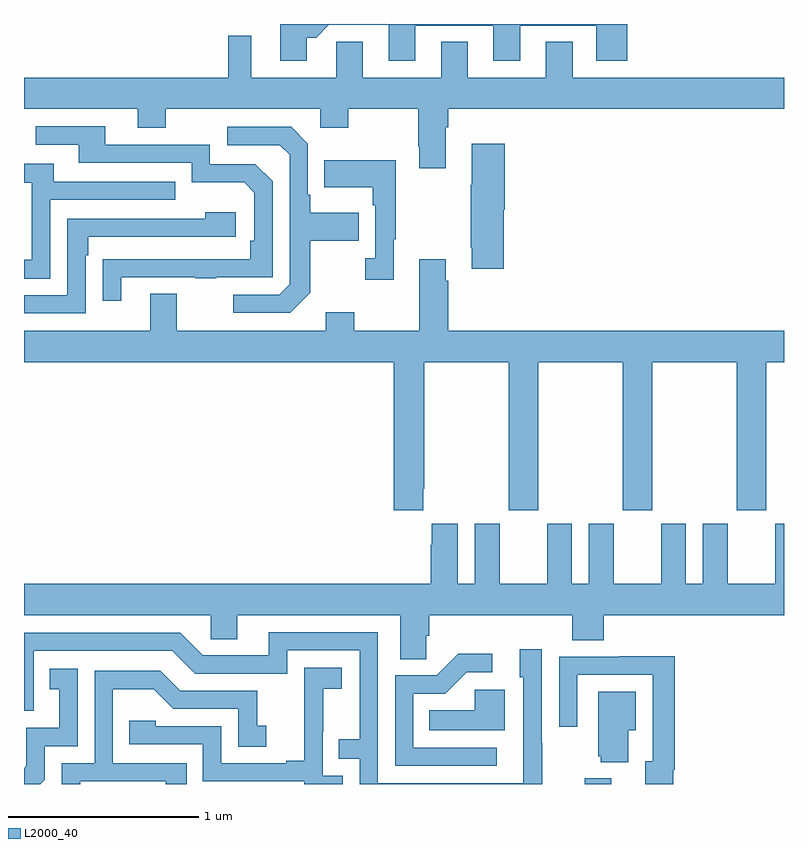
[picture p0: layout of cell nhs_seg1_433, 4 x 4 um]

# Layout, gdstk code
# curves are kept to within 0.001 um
import gdstk
lib = gdstk.Library(unit=1e-6, precision=1e-09)
def R(c, l, rs):  # rectangles x0, y0, x1, y1
    for r in rs: c.add(gdstk.rectangle(r[:2], r[2:], *l))
def P(c, l, *ps):  # polygons
    for p in ps: c.add(gdstk.Polygon(p, *l))
L2000_40 = (2000, 40)

nhs_seg1_433 = lib.new_cell('nhs_seg1_433')
R(nhs_seg1_433, L2000_40, [(137.951,528.199,138.091,528.229)])
P(nhs_seg1_433, L2000_40, [(136.489,532.127),(136.538,532.127),(136.605,532.194),(136.919,532.194),(136.919,532.005),(137.059,532.005),(137.059,532.191),(137.471,532.191),(137.471,532.005),(137.611,532.005),(137.611,532.191),(138.011,532.191),(138.011,532.005),(138.176,532.005),(138.176,532.199),(136.349,532.199),(136.349,532.005),(136.489,532.005)],
  [(137.221,531.656),(137.234,531.656),(137.234,531.752),(139,531.752),(139,531.916),(137.887,531.916),(137.887,532.106),(137.747,532.106),(137.747,531.916),(137.335,531.916),(137.335,532.106),(137.195,532.106),(137.195,531.916),(136.783,531.916),(136.783,532.106),(136.644,532.106),(136.644,531.916),(136.195,531.916),(136.195,532.138),(136.074,532.138),(136.074,531.916),(135,531.916),(135,531.752),(135.599,531.752),(135.599,531.653),(135.747,531.653),(135.747,531.752),(136.56,531.752),(136.56,531.653),(136.707,531.653),(136.707,531.752),(137.074,531.752),(137.074,531.553),(137.081,531.553),(137.081,531.441),(137.221,531.441)],
  [(135.511,530.865),(135.901,530.865),(135.901,530.86),(136.013,530.86),(136.013,530.865),(136.308,530.865),(136.308,531.372),(136.218,531.462),(135.978,531.462),(135.978,531.564),(135.427,531.564),(135.427,531.66),(135.063,531.66),(135.063,531.564),(135.287,531.564),(135.287,531.468),(135.882,531.468),(135.882,531.365),(136.159,531.365),(136.212,531.312),(136.212,531.058),(136.192,531.058),(136.192,530.961),(135.415,530.96),(135.415,530.742),(135.511,530.742)],
  [(136.507,530.785),(136.507,531.058),(136.763,531.058),(136.763,531.205),(136.507,531.205),(136.507,531.301),(136.494,531.301),(136.494,531.57),(136.407,531.657),(136.071,531.657),(136.071,531.561),(136.347,531.561),(136.398,531.51),(136.398,530.829),(136.344,530.775),(136.101,530.775),(136.101,530.679),(136.401,530.679)],
  [(137.525,531.222),(137.53,531.222),(137.53,531.568),(137.357,531.568),(137.357,531.353),(137.35,531.353),(137.35,531.022),(137.357,531.022),(137.357,530.91),(137.525,530.91)],
  [(136.945,531.065),(136.957,531.065),(136.957,531.481),(136.579,531.481),(136.579,531.341),(136.836,531.341),(136.836,531.245),(136.848,531.245),(136.848,530.966),(136.797,530.966),(136.797,530.853),(136.945,530.853)],
  [(135.138,531.273),(135.797,531.273),(135.797,531.369),(135.157,531.369),(135.157,531.463),(135,531.463),(135,531.363),(135.042,531.363),(135.042,530.958),(135,530.958),(135,530.857),(135.138,530.857)],
  [(135.324,530.981),(135.337,530.981),(135.337,531.078),(136.114,531.078),(136.114,531.208),(135.953,531.208),(135.953,531.174),(135.228,531.174),(135.228,530.772),(135,530.772),(135,530.676),(135.324,530.676)],
  [(137.101,529.753),(137.106,529.753),(137.106,530.42),(137.551,530.42),(137.551,529.641),(137.706,529.641),(137.706,530.42),(138.151,530.42),(138.151,529.641),(138.306,529.641),(138.306,530.42),(138.751,530.42),(138.751,529.641),(138.906,529.641),(138.906,530.42),(139,530.42),(139,530.584),(137.234,530.584),(137.234,530.849),(137.221,530.849),(137.221,530.962),(137.081,530.962),(137.081,530.584),(136.737,530.584),(136.737,530.683),(136.589,530.683),(136.589,530.584),(135.805,530.584),(135.805,530.779),(135.665,530.779),(135.665,530.584),(135,530.584),(135,530.42),(136.946,530.42),(136.946,529.641),(137.101,529.641)],
  [(137.118,528.979),(137.132,528.979),(137.132,529.088),(137.885,529.088),(137.885,528.955),(138.05,528.955),(138.05,529.088),(139,529.088),(139,529.57),(138.953,529.57),(138.953,529.252),(138.703,529.252),(138.703,529.57),(138.572,529.57),(138.572,529.252),(138.484,529.252),(138.484,529.57),(138.353,529.57),(138.353,529.252),(138.103,529.252),(138.103,529.57),(137.972,529.57),(137.972,529.252),(137.884,529.252),(137.884,529.57),(137.753,529.57),(137.753,529.252),(137.503,529.252),(137.503,529.57),(137.372,529.57),(137.372,529.252),(137.284,529.252),(137.284,529.57),(137.147,529.57),(137.147,529.457),(137.141,529.457),(137.141,529.252),(135,529.252),(135,529.088),(135.984,529.088),(135.984,528.961),(136.123,528.961),(136.123,529.088),(136.979,529.088),(136.979,528.856),(137.118,528.856)],
  [(137.727,528.413),(137.724,528.413),(137.724,528.907),(137.609,528.907),(137.609,528.762),(137.628,528.762),(137.627,528.204),(136.863,528.204),(136.863,528.999),(136.289,528.999),(136.289,528.876),(135.942,528.876),(135.822,528.996),(135,528.996),(135,528.585),(135.051,528.585),(135.051,528.9),(135.78,528.9),(135.9,528.78),(136.386,528.78),(136.386,528.903),(136.767,528.903),(136.767,528.434),(136.657,528.434),(136.657,528.333),(136.767,528.333),(136.767,528.199),(137.727,528.199)],
  [(137.488,528.39),(137.049,528.39),(137.049,528.675),(137.218,528.675),(137.329,528.786),(137.464,528.786),(137.464,528.884),(137.285,528.884),(137.172,528.771),(136.953,528.771),(136.953,528.294),(137.488,528.294)],
  [(138.418,528.274),(138.425,528.274),(138.425,528.872),(138.133,528.872),(138.133,528.87),(137.817,528.87),(137.817,528.501),(137.913,528.501),(137.913,528.774),(138.309,528.774),(138.309,528.318),(138.269,528.318),(138.269,528.199),(138.418,528.199)],
  [(136.677,528.243),(136.572,528.243),(136.572,528.473),(136.574,528.473),(136.574,528.701),(136.672,528.701),(136.672,528.811),(136.474,528.811),(136.474,528.605),(136.475,528.605),(136.475,528.322),(136.379,528.322),(136.379,528.309),(136.038,528.309),(136.038,528.504),(135.693,528.504),(135.693,528.531),(135.553,528.531),(135.553,528.408),(135.942,528.408),(135.942,528.213),(136.476,528.213),(136.476,528.199),(136.677,528.199)],
  [(135.108,528.222),(135.108,528.399),(135.282,528.399),(135.282,528.805),(135.136,528.805),(135.136,528.699),(135.185,528.699),(135.185,528.495),(135.012,528.495),(135.012,528.294),(135,528.282),(135,528.199),(135.085,528.199)],
  [(135.295,528.213),(135.746,528.213),(135.746,528.199),(135.857,528.199),(135.857,528.309),(135.468,528.309),(135.468,528.698),(135.682,528.698),(135.786,528.594),(136.128,528.594),(136.128,528.396),(136.276,528.396),(136.276,528.505),(136.227,528.505),(136.227,528.69),(135.823,528.69),(135.718,528.795),(135.372,528.795),(135.372,528.309),(135.198,528.309),(135.198,528.199),(135.295,528.199)],
  [(137.53,528.694),(137.373,528.694),(137.373,528.586),(137.134,528.586),(137.134,528.482),(137.53,528.482)],
  [(138.181,528.482),(138.22,528.482),(138.22,528.685),(138.023,528.685),(138.023,528.345),(138.035,528.345),(138.035,528.314),(138.181,528.314)])

lib.write_gds('nhs_seg1_433.gds')
